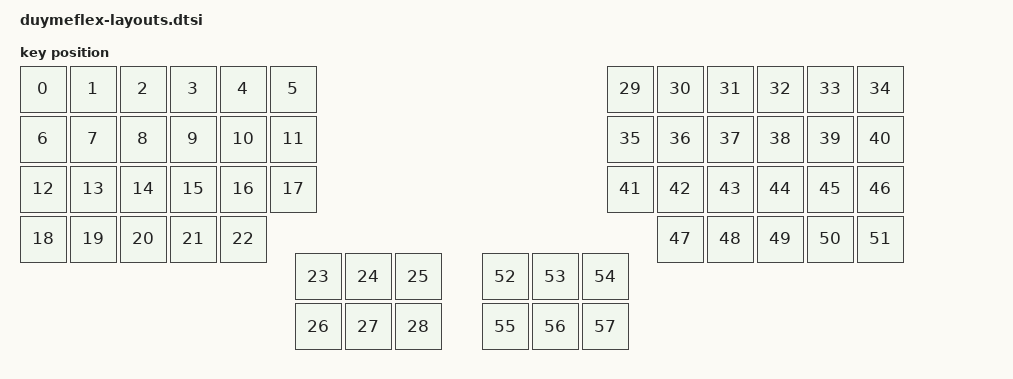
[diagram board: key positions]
#include <physical_layouts.dtsi>

/ {
    physical_layout_duymeflex: physical_layout_duymeflex {
        compatible = "zmk,physical-layout";
        display-name = "DuymeFlex";
        keys  //                     w   h    x    y     rot    rx    ry
            = <&key_physical_attrs 100 100    0    0       0     0     0>
            , <&key_physical_attrs 100 100  100    0       0   100     0>
            , <&key_physical_attrs 100 100  200    0       0   200     0>
            , <&key_physical_attrs 100 100  300    0       0   300     0>
            , <&key_physical_attrs 100 100  400    0       0   400     0>
            , <&key_physical_attrs 100 100  500    0       0   500     0>
            , <&key_physical_attrs 100 100    0  100       0     0   100>
            , <&key_physical_attrs 100 100  100  100       0   100   100>
            , <&key_physical_attrs 100 100  200  100       0   200   100>
            , <&key_physical_attrs 100 100  300  100       0   300   100>
            , <&key_physical_attrs 100 100  400  100       0   400   100>
            , <&key_physical_attrs 100 100  500  100       0   500   100>
            , <&key_physical_attrs 100 100    0  200       0     0   200>
            , <&key_physical_attrs 100 100  100  200       0   100   200>
            , <&key_physical_attrs 100 100  200  200       0   200   200>
            , <&key_physical_attrs 100 100  300  200       0   300   200>
            , <&key_physical_attrs 100 100  400  200       0   400   200>
            , <&key_physical_attrs 100 100  500  200       0   500   200>
            , <&key_physical_attrs 100 100    0  300       0     0   300>
            , <&key_physical_attrs 100 100  100  300       0   100   300>
            , <&key_physical_attrs 100 100  200  300       0   200   300>
            , <&key_physical_attrs 100 100  300  300       0   300   300>
            , <&key_physical_attrs 100 100  400  300       0   400   300>
            , <&key_physical_attrs 100 100  550  375       0   550   375>
            , <&key_physical_attrs 100 100  650  375       0   650   375>
            , <&key_physical_attrs 100 100  750  375       0   750   375>
            , <&key_physical_attrs 100 100  550  475       0   550   475>
            , <&key_physical_attrs 100 100  650  475       0   650   475>
            , <&key_physical_attrs 100 100  750  475       0   750   475>
            , <&key_physical_attrs 100 100 1175    0       0  1175     0>
            , <&key_physical_attrs 100 100 1275    0       0  1275     0>
            , <&key_physical_attrs 100 100 1375    0       0  1375     0>
            , <&key_physical_attrs 100 100 1475    0       0  1475     0>
            , <&key_physical_attrs 100 100 1575    0       0  1575     0>
            , <&key_physical_attrs 100 100 1675    0       0  1675     0>
            , <&key_physical_attrs 100 100 1175  100       0  1175   100>
            , <&key_physical_attrs 100 100 1275  100       0  1275   100>
            , <&key_physical_attrs 100 100 1375  100       0  1375   100>
            , <&key_physical_attrs 100 100 1475  100       0  1475   100>
            , <&key_physical_attrs 100 100 1575  100       0  1575   100>
            , <&key_physical_attrs 100 100 1675  100       0  1675   100>
            , <&key_physical_attrs 100 100 1175  200       0  1175   200>
            , <&key_physical_attrs 100 100 1275  200       0  1275   200>
            , <&key_physical_attrs 100 100 1375  200       0  1375   200>
            , <&key_physical_attrs 100 100 1475  200       0  1475   200>
            , <&key_physical_attrs 100 100 1575  200       0  1575   200>
            , <&key_physical_attrs 100 100 1675  200       0  1675   200>
            , <&key_physical_attrs 100 100 1275  300       0  1275   300>
            , <&key_physical_attrs 100 100 1375  300       0  1375   300>
            , <&key_physical_attrs 100 100 1475  300       0  1475   300>
            , <&key_physical_attrs 100 100 1575  300       0  1575   300>
            , <&key_physical_attrs 100 100 1675  300       0  1675   300>
            , <&key_physical_attrs 100 100  925  375       0   925   375>
            , <&key_physical_attrs 100 100 1025  375       0  1025   375>
            , <&key_physical_attrs 100 100 1125  375       0  1125   375>
            , <&key_physical_attrs 100 100  925  475       0   925   475>
            , <&key_physical_attrs 100 100 1025  475       0  1025   475>
            , <&key_physical_attrs 100 100 1125  475       0  1125   475>
            ;
    };
};
